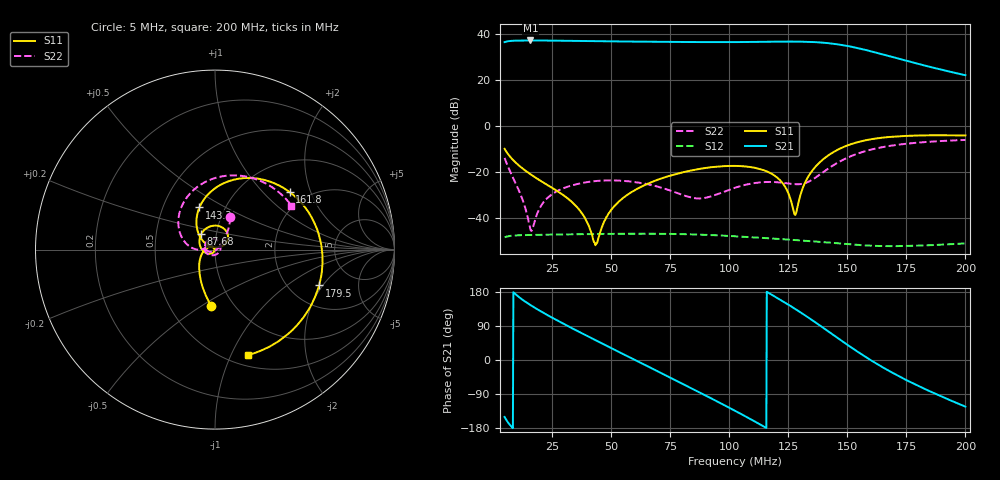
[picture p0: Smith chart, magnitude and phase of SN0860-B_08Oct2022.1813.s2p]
# Hz S DB R 50
! CMT, M5045, 22160017, 22.3.3/2
! Date: 10/8/2022 18:13:26
! Data: Format (Calibration Info)
! Freq	S11:dB/Ang(F2)	S21:dB/Ang(F2)	S12:dB/Ang(F2)	S22:dB/Ang(F2)
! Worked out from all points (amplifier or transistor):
!   1001 points, 5 MHz to 200 MHz, reference 50 ohm
!   highest |S21| = 37.1 dB at 15.92 MHz (marker M1)
!   |S21| within 3 dB of that: start of sweep to 153 MHz
!   unconditionally stable (mu >= 1): start of sweep to end of sweep
!   at 37.37 MHz: K = 1.78, MAG = 36.9 dB, |S12| = -47.2 dB
!   at 102.5 MHz: K = 2.01, MAG = 36.5 dB, |S12| = -48.1 dB
!   at 200 MHz: K = 7.11, MAG = 25.1 dB, |S12| = -51.2 dB
!   S11 on the Smith chart (normalised r, x): 5 MHz: 0.79, -0.55; 87.68 MHz: 0.85, +0.15; 143.3 MHz: 0.76, +0.38; 161.8 MHz: 1.64, +1.45; 179.5 MHz: 2.88, -1.84; 200 MHz: 0.61, -1.16
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5000000  -10.06 -93.7  36.39 -150.3  -48.51 -147.5  -14.01 64.6
9290000  -15.63 -120.8  37.03 175.5  -47.74 178.3  -24.24 44.2
1.592e7  -21.09 -153.9  37.13 145.0  -47.52 147.4  -45.04 -33.3
2.645e7  -27.87 162.3  37.05 107.1  -47.35 110.5  -28.90 -162.2
3.7565e7  -37.87 127.1  36.91 70.8  -47.19 75.6  -24.95 166.4
4.634e7  -43.65 -117.6  36.80 43.1  -47.08 49.3  -23.85 140.4
5.4335e7  -32.13 -127.7  36.69 18.2  -47.00 25.8  -23.92 115.3
6.2135e7  -26.90 -150.7  36.60 -6.0  -46.97 3.1  -24.80 89.3
7.013e7  -23.36 -175.0  36.52 -30.8  -47.00 -20.2  -26.59 59.0
7.9295e7  -20.53 157.1  36.47 -59.5  -47.14 -47.0  -29.74 13.0
8.768e7  -18.74 131.7  36.43 -86.1  -47.38 -71.7  -31.65 -49.8
1.025e8  -17.48 86.3  36.42 -134.0  -48.09 -116.5  -26.98 -141.6
1.1147e8  -18.42 58.3  36.50 -164.3  -48.63 -145.1  -24.83 -174.9
1.19465e8  -21.84 34.1  36.60 167.3  -49.15 -172.6  -24.51 164.4
1.26875e8  -35.40 42.0  36.64 139.1  -49.66 159.3  -25.34 159.4
1.35065e8  -19.73 140.7  36.46 105.6  -50.27 124.5  -23.55 177.3
1.43255e8  -12.02 110.2  35.80 70.0  -50.95 86.0  -17.75 175.5
1.5203e8  -7.86 74.6  34.33 31.7  -51.70 43.7  -13.02 152.6
1.6178e8  -5.59 37.5  31.96 -7.4  -52.27 0.6  -9.96 122.8
1.6763e8  -4.89 17.4  30.35 -28.5  -52.39 -21.9  -8.82 106.0
1.79525e8  -4.25 -19.0  27.08 -66.8  -52.20 -60.4  -7.37 75.0
2e8  -4.21 -72.7  22.00 -123.0  -51.20 -112.4  -6.17 29.9
